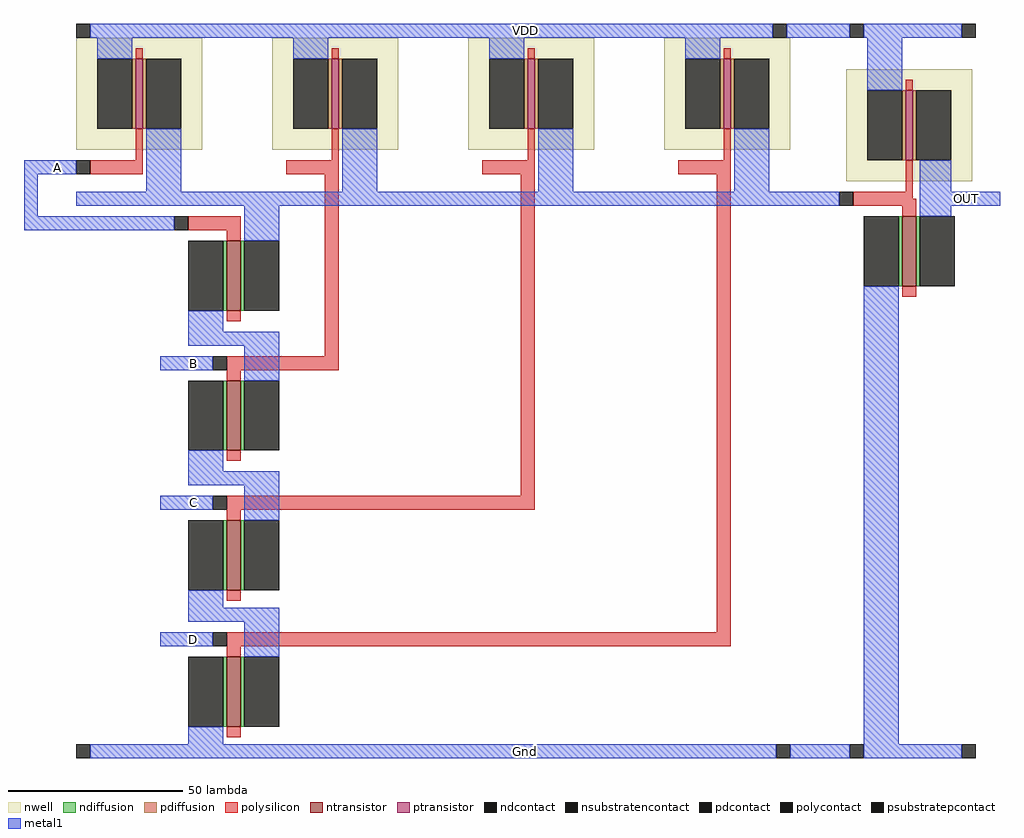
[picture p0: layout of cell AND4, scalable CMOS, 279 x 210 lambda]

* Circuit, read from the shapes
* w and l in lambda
.subckt AND4 A B C D Gnd OUT VDD
M1 n1 D Gnd Gnd nfet w=20 l=4
M2 n2 C n1 Gnd nfet w=20 l=4
M3 n3 B n2 Gnd nfet w=20 l=4
M4 n4 A n3 Gnd nfet w=20 l=4
M5 OUT n4 Gnd Gnd nfet w=20 l=4
M6 n4 A VDD n5 pfet w=20 l=2
M7 n4 B VDD n6 pfet w=20 l=2
M8 n4 C VDD n7 pfet w=20 l=2
M9 n4 D VDD n8 pfet w=20 l=2
M10 OUT n4 VDD n9 pfet w=20 l=2
.ends

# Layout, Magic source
magic
tech scmos
<< nwell >>
rect 277 175 313 207
rect 333 175 369 207
rect 389 175 425 207
rect 445 175 481 207
rect 497 166 533 198
<< ntransistor >>
rect 320 129 324 149
rect 320 89 324 109
rect 320 49 324 69
rect 513 136 517 156
rect 320 10 324 30
<< ptransistor >>
rect 294 181 296 201
rect 350 181 352 201
rect 406 181 408 201
rect 462 181 464 201
rect 514 172 516 192
<< ndiffusion >>
rect 319 129 320 149
rect 324 129 325 149
rect 319 89 320 109
rect 324 89 325 109
rect 319 49 320 69
rect 324 49 325 69
rect 512 136 513 156
rect 517 136 518 156
rect 319 10 320 30
rect 324 10 325 30
<< pdiffusion >>
rect 293 181 294 201
rect 296 181 297 201
rect 349 181 350 201
rect 352 181 353 201
rect 405 181 406 201
rect 408 181 409 201
rect 461 181 462 201
rect 464 181 465 201
rect 513 172 514 192
rect 516 172 517 192
<< ndcontact >>
rect 309 129 319 149
rect 325 129 335 149
rect 309 89 319 109
rect 325 89 335 109
rect 309 49 319 69
rect 325 49 335 69
rect 502 136 512 156
rect 518 136 528 156
rect 309 10 319 30
rect 325 10 335 30
<< pdcontact >>
rect 283 181 293 201
rect 297 181 307 201
rect 339 181 349 201
rect 353 181 363 201
rect 395 181 405 201
rect 409 181 419 201
rect 451 181 461 201
rect 465 181 475 201
rect 503 172 513 192
rect 517 172 527 192
<< psubstratepcontact >>
rect 277 1 281 5
rect 477 1 481 5
rect 498 1 502 5
rect 530 1 534 5
<< nsubstratencontact >>
rect 277 207 281 211
rect 476 207 480 211
rect 498 207 502 211
rect 530 207 534 211
<< polysilicon >>
rect 294 201 296 204
rect 350 201 352 204
rect 406 201 408 204
rect 462 201 464 204
rect 514 192 516 195
rect 294 172 296 181
rect 350 172 352 181
rect 406 172 408 181
rect 462 172 464 181
rect 281 168 296 172
rect 337 168 352 172
rect 393 168 408 172
rect 449 168 464 172
rect 309 152 324 156
rect 320 149 324 152
rect 320 126 324 129
rect 348 116 352 168
rect 320 112 352 116
rect 320 109 324 112
rect 320 86 324 89
rect 404 76 408 168
rect 320 72 408 76
rect 320 69 324 72
rect 320 46 324 49
rect 460 37 464 168
rect 514 163 516 172
rect 499 161 516 163
rect 499 159 517 161
rect 513 156 517 159
rect 513 133 517 136
rect 320 33 464 37
rect 320 30 324 33
rect 320 7 324 10
<< polycontact >>
rect 277 168 281 172
rect 305 152 309 156
rect 316 112 320 116
rect 316 72 320 76
rect 495 159 499 163
rect 316 33 320 37
<< metal1 >>
rect 281 207 476 211
rect 480 207 498 211
rect 502 207 530 211
rect 283 201 293 207
rect 339 201 349 207
rect 395 201 405 207
rect 451 201 461 207
rect 262 168 277 172
rect 262 156 266 168
rect 297 163 307 181
rect 353 163 363 181
rect 409 163 419 181
rect 465 163 475 181
rect 503 192 513 207
rect 518 163 527 172
rect 277 159 495 163
rect 518 159 541 163
rect 262 152 305 156
rect 325 149 335 159
rect 518 156 527 159
rect 309 123 319 129
rect 309 119 335 123
rect 301 112 316 116
rect 325 109 335 119
rect 309 83 319 89
rect 309 79 335 83
rect 301 72 316 76
rect 325 69 335 79
rect 309 44 319 49
rect 309 40 335 44
rect 301 33 316 37
rect 325 30 335 40
rect 309 5 319 10
rect 502 5 512 136
rect 281 1 477 5
rect 481 1 498 5
rect 502 1 530 5
<< labels >>
rlabel metal1 262 168 281 172 1 A
rlabel metal1 277 207 534 211 5 VDD
rlabel metal1 522 159 541 163 1 OUT
rlabel metal1 277 1 534 5 1 Gnd
rlabel metal1 301 112 320 116 1 B
rlabel metal1 301 72 320 76 1 C
rlabel metal1 301 33 320 37 1 D
<< end >>
